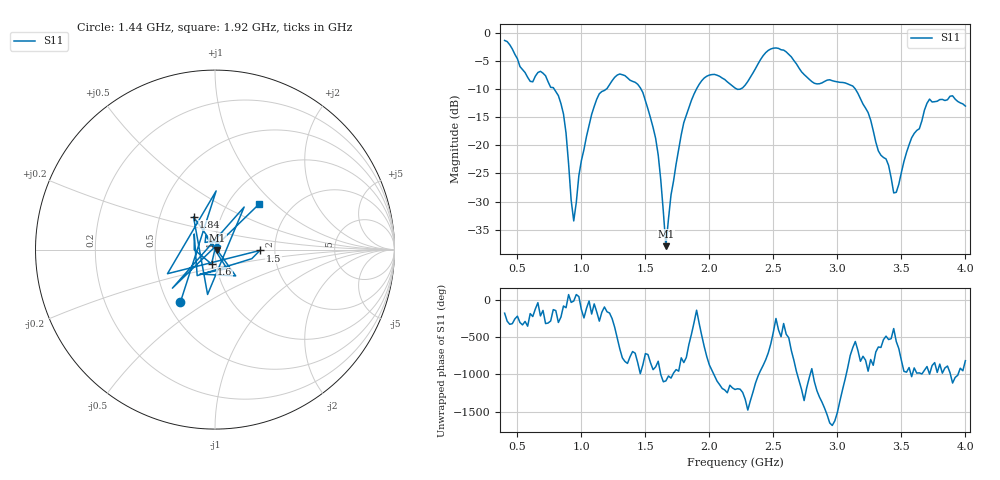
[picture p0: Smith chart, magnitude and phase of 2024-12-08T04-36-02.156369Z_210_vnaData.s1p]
!Created with skrf (http://scikit-rf.org).
# Hz S RI R 50.0
!freq ReS11 ImS11
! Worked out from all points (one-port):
!   181 points, 400 MHz to 4 GHz, reference 50 ohm
!   lowest |S11| = -38.0 dB at 1.66 GHz (marker M1), VSWR 1.03, Z = 51.3 - j0.175 ohm
!   |S11| at or under -10 dB: 789 MHz to 1.191 GHz (402.3 MHz wide, 40.6 % of centre); 1.467 GHz to 1.898 GHz (430.8 MHz wide, 25.6 % of centre); 3.142 GHz to end of sweep
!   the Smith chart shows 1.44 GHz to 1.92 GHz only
!   S11 on the Smith chart (normalised r, x): 1.44 GHz: 0.58, -0.39; 1.5 GHz: 1.67, -0.02; 1.6 GHz: 0.95, -0.15; 1.84 GHz: 0.74, +0.28; 1.92 GHz: 1.38, +0.79
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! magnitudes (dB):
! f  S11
! 400 MHz  -1.3
! 600 MHz  -8.6
! 720 MHz  -7.6
! 860 MHz  -14.4
! 940 MHz  -33.5
! 1 GHz  -22.7
! 1.08 GHz  -14.5
! 1.3 GHz  -7.3
! 1.44 GHz  -9.1
! 1.5 GHz  -12.0
! 1.6 GHz  -21.7
! 1.66 GHz  -38.0
! 1.7 GHz  -28.8
! 1.76 GHz  -20.6
! 1.84 GHz  -13.2
! 1.92 GHz  -9.1
! 2.04 GHz  -7.3
! 2.2 GHz  -9.8
! 2.48 GHz  -2.8
! 2.66 GHz  -4.9
! 2.82 GHz  -8.9
! 3.1 GHz  -9.2
! 3.24 GHz  -14.1
! 3.4 GHz  -23.6
! 3.44 GHz  -28.5
! 3.56 GHz  -19.9
! 3.72 GHz  -11.7
! 4 GHz  -13.0
